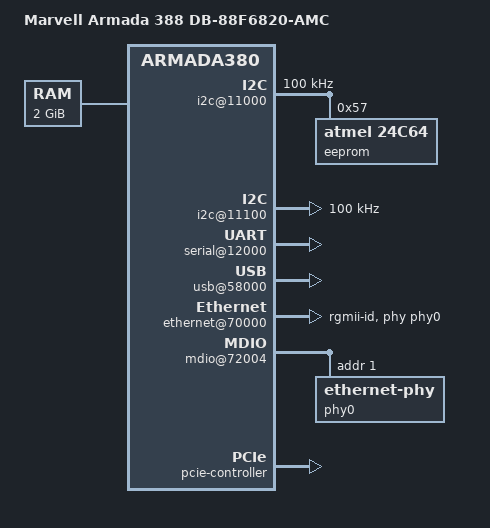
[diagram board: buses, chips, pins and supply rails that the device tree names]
/*
 * Device Tree file for Marvell Armada 385 AMC board
 *
 * Copyright (C) 2014 Marvell
 *
 * Grzegorz Jaszczyk <jaz@semihalf.com>
 *
 * This file is dual-licensed: you can use it either under the terms
 * of the GPL or the X11 license, at your option. Note that this dual
 * licensing only applies to this file, and not this project as a
 * whole.
 *
 *  a) This file is licensed under the terms of the GNU General Public
 *     License version 2.  This program is licensed "as is" without
 *     any warranty of any kind, whether express or implied.
 *
 * Or, alternatively,
 *
 *  b) Permission is hereby granted, free of charge, to any person
 *     obtaining a copy of this software and associated documentation
 *     files (the "Software"), to deal in the Software without
 *     restriction, including without limitation the rights to use,
 *     copy, modify, merge, publish, distribute, sublicense, and/or
 *     sell copies of the Software, and to permit persons to whom the
 *     Software is furnished to do so, subject to the following
 *     conditions:
 *
 *     The above copyright notice and this permission notice shall be
 *     included in all copies or substantial portions of the Software.
 *
 *     THE SOFTWARE IS PROVIDED "AS IS", WITHOUT WARRANTY OF ANY KIND,
 *     EXPRESS OR IMPLIED, INCLUDING BUT NOT LIMITED TO THE WARRANTIES
 *     OF MERCHANTABILITY, FITNESS FOR A PARTICULAR PURPOSE AND
 *     NONINFRINGEMENT. IN NO EVENT SHALL THE AUTHORS OR COPYRIGHT
 *     HOLDERS BE LIABLE FOR ANY CLAIM, DAMAGES OR OTHER LIABILITY,
 *     WHETHER IN AN ACTION OF CONTRACT, TORT OR OTHERWISE, ARISING
 *     FROM, OUT OF OR IN CONNECTION WITH THE SOFTWARE OR THE USE OR
 *     OTHER DEALINGS IN THE SOFTWARE.
 */

/dts-v1/;
#include "armada-388.dtsi"
#include <dt-bindings/gpio/gpio.h>

/ {
	model = "Marvell Armada 388 DB-88F6820-AMC";
	compatible = "marvell,a385-amc", "marvell,armada385", "marvell,armada380";

	chosen {
		stdout-path = "serial0:115200n8";
	};

	memory {
		device_type = "memory";
		reg = <0x00000000 0x80000000>; /* 2 GB */
	};

	soc {
		ranges = <MBUS_ID(0xf0, 0x01) 0 0xf1000000 0x100000
			  MBUS_ID(0x01, 0x1d) 0 0xfff00000 0x100000>;

		internal-regs {

			flash@d0000 {
				status = "okay";
				num-cs = <1>;
				marvell,nand-keep-config;
				marvell,nand-enable-arbiter;
				nand-on-flash-bbt;
				nand-ecc-strength = <8>;
				nand-ecc-step-size = <512>;

				partition@0 {
					label = "U-Boot";
					reg = <0x00000000 0x00600000>;
					read-only;
				};

				partition@800000 {
					label = "uImage";
					reg = <0x00600000 0x00400000>;
					read-only;
				};

				partition@1000000 {
					label = "Root";
					reg = <0x00a00000 0x3f600000>;
				};
			};

			i2c@11000 {
				status = "okay";
				clock-frequency = <100000>;

				eeprom@57 {
					compatible = "atmel,24c64";
					reg = <0x57>;
				};
			};

			i2c@11100 {
				status = "okay";
				clock-frequency = <100000>;
			};

			serial@12000 {
				/*
				 * Exported on the micro USB connector CON16
				 * through an FTDI
				 */

				pinctrl-names = "default";
				pinctrl-0 = <&uart0_pins>;
				status = "okay";
			};

			usb@58000 {
				status = "okay";
			};

			ethernet@70000 {
				pinctrl-names = "default";
				/*
				 * The Reference Clock 0 is used to provide a
				 * clock to the PHY
				 */
				pinctrl-0 = <&ge0_rgmii_pins>, <&ref_clk0_pins>;
				status = "okay";
				phy = <&phy0>;
				phy-mode = "rgmii-id";
			};

			mdio@72004 {
				pinctrl-names = "default";
				pinctrl-0 = <&mdio_pins>;

				phy0: ethernet-phy@1 {
					reg = <1>;
				};
			};

		};

		pcie-controller {
			status = "okay";

			pcie@1,0 {
				/* Port 0, Lane 0 */
				status = "okay";
			};
		};
	};
};
